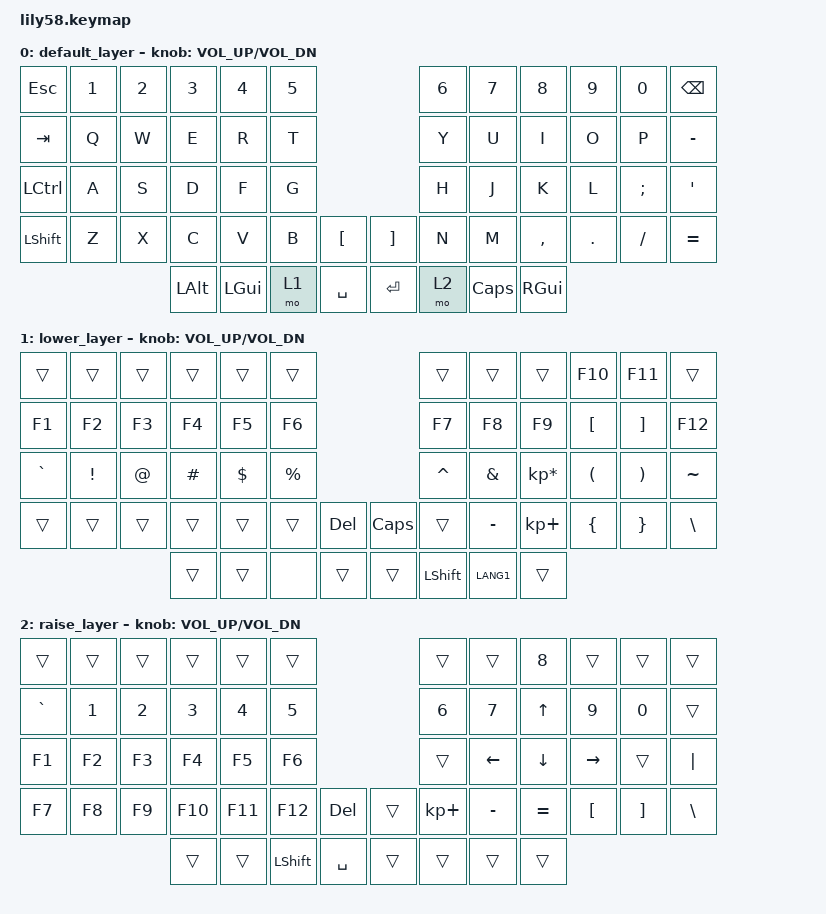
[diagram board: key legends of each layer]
/*
 * Copyright (c) 2020 The ZMK Contributors
 *
 * SPDX-License-Identifier: MIT
 */

#include <behaviors.dtsi>
#include <dt-bindings/zmk/bt.h>
#include <dt-bindings/zmk/ext_power.h>
#include <dt-bindings/zmk/keys.h>

/ {
    keymap {
        compatible = "zmk,keymap";

        default_layer {
            // ------------------------------------------------------------------------------------------------------------
            // |  ESC  |  1  |  2  |  3   |  4   |  5   |                   |  6   |  7    |  8    |  9   |   0   |  BSPC |
            // |  TAB  |  Q  |  W  |  E   |  R   |  T   |                   |  Y   |  U    |  I    |  O   |   P   |   -   |
            // |  CTRL |  A  |  S  |  D   |  F   |  G   |                   |  H   |  J    |  K    |  L   |   ;   |   '   |
            // | SHIFT |  Z  |  X  |  C   |  V   |  B   |   "["  |  |  "]"  |  N   |  M    |  ,    |  .   |   /   |   =   |
            //                     | ALT  | GUI  | LOWER|  SPACE |  | ENTER | RAISE|  CASP | GUI   |

            bindings = <
&kp ESC    &kp N1  &kp N2  &kp N3    &kp N4    &kp N5                         &kp N6  &kp N7     &kp N8     &kp N9   &kp N0    &kp BACKSPACE
&kp TAB    &kp Q   &kp W   &kp E     &kp R     &kp T                          &kp Y   &kp U      &kp I      &kp O    &kp P     &kp MINUS
&kp LCTRL  &kp A   &kp S   &kp D     &kp F     &kp G                          &kp H   &kp J      &kp K      &kp L    &kp SEMI  &kp SQT
&kp LSHFT  &kp Z   &kp X   &kp C     &kp V     &kp B   &kp LBKT     &kp RBKT  &kp N   &kp M      &kp COMMA  &kp DOT  &kp FSLH  &kp EQUAL
                           &kp LALT  &kp LGUI  &mo 1   &kp SPACE    &kp RET   &mo 2   &kp CAPSLOCK  &kp RGUI
            >;

            sensor-bindings = <&inc_dec_kp C_VOL_UP C_VOL_DN>;
        };

        lower_layer {
            // ------------------------------------------------------------------------------------------------------------
            // |       |     |     |      |      |      |                   |      |       |       |  F10 | F11   |       |
            // |  F1   |  F2 |  F3 |  F4  |  F5  |  F6  |                   |  F7  |  F8   |  F9   |  "[" |  "]"  |  F12  |
            // |   `   |  !  |  @  |  #   |  $   |  %   |                   |  ^   |  &    |  *    |  (   |   )   |   ~   |
            // |       |     |     |      |      |      | DEL    |  | CASP  |      |  _    |  +    |  {   |   }   |  \    |
            //                     |      |      |      |        |  |       | SHIFT| Lang  |       |

            bindings = <
&trans      &trans            &trans             &trans             &trans        &trans                                &trans     &trans     &trans           &kp F10   &kp F11    &trans
&kp F1      &kp F2            &kp F3             &kp F4             &kp F5        &kp F6                                &kp F7     &kp F8     &kp F9           &kp LBKT  &kp RBKT   &kp F12
&kp GRAVE   &kp EXCL          &kp AT             &kp HASH           &kp DOLLAR    &kp PRCNT                             &kp CARET  &kp AMPS   &kp KP_MULTIPLY  &kp LPAR  &kp RPAR  &kp TILDE
&trans      &trans            &trans             &trans             &trans        &trans        &kp DEL   &kp CAPSLOCK  &trans     &kp MINUS  &kp KP_PLUS      &kp LBRC  &kp RBRC  &kp BSLH
                                                 &trans             &trans        &none         &trans    &trans        &kp LSHFT  &kp LANG1  &trans
            >;

            sensor-bindings = <&inc_dec_kp C_VOL_UP C_VOL_DN>;
        };

        raise_layer {
            // ------------------------------------------------------------------------------------------------------------
            // |       |     |     |      |      |      |                   |      |       |   8   |      |       |       |
            // |   `   |  1  |  2  |  3   |  4   |  5   |                   |  6   |   7   |   ^   |  9   |   0   |       |
            // |   F1  |  F2 |  F3 |  F4  |  F5  |  F6  |                   |      |   <-  |   v   | ->   |       |  "|"  |
            // |   F7  |  F8 |  F9 |  F10 |  F11 |  F12 | DEL    |  |       |  +   |   -   |   =   |  [   |   ]   |   \   |
            //                     |      |      | SHIFT| SPACE  |  |       |      |       |       |

            bindings = <
&trans     &trans  &trans  &trans   &trans   &trans                          &trans       &trans     &kp N8     &trans    &trans     &trans
&kp GRAVE  &kp N1  &kp N2  &kp N3   &kp N4   &kp N5                          &kp N6       &kp N7     &kp UP     &kp N9    &kp N0     &trans
&kp F1     &kp F2  &kp F3  &kp F4   &kp F5   &kp F6                          &trans       &kp LEFT   &kp DOWN   &kp RIGHT &trans     &kp PIPE
&kp F7     &kp F8  &kp F9  &kp F10  &kp F11  &kp F12    &kp DEL      &trans  &kp KP_PLUS  &kp MINUS  &kp EQUAL  &kp LBKT  &kp RBKT   &kp BSLH
                           &trans   &trans   &kp LSHFT  &kp SPACE    &trans  &trans       &trans     &trans
            >;

            sensor-bindings = <&inc_dec_kp C_VOL_UP C_VOL_DN>;
        };
    };
};
